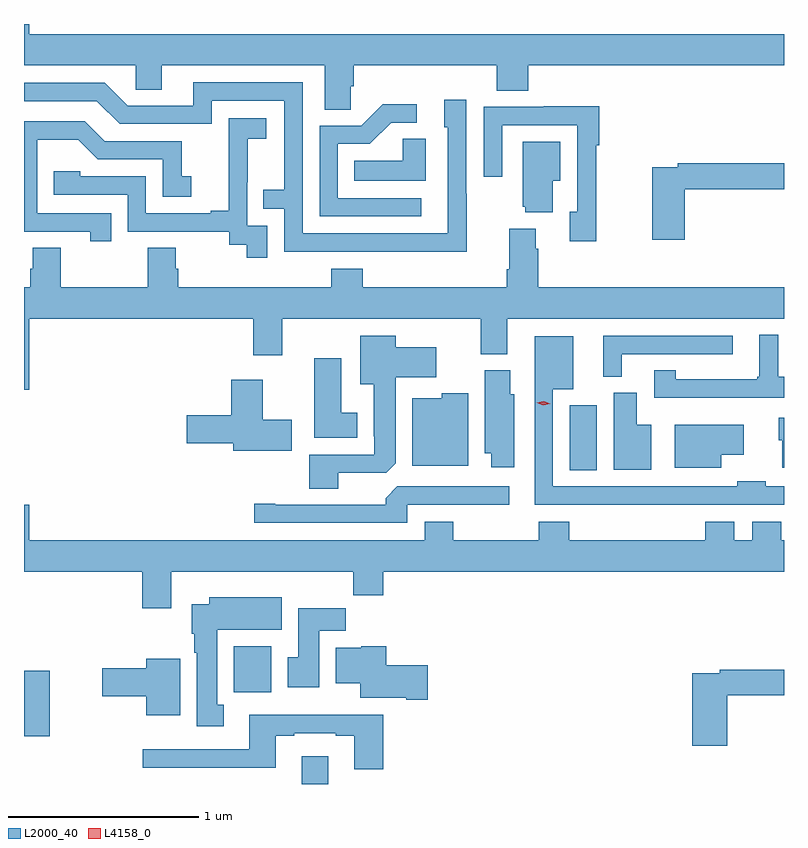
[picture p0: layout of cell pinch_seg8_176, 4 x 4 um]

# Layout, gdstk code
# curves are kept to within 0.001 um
import gdstk
lib = gdstk.Library(unit=1e-6, precision=1e-09)
def R(c, l, rs):  # rectangles x0, y0, x1, y1
    for r in rs: c.add(gdstk.rectangle(r[:2], r[2:], *l))
def P(c, l, *ps):  # polygons
    for p in ps: c.add(gdstk.Polygon(p, *l))
L2000_40 = (2000, 40)
L4158_0 = (4158, 0)

pinch_seg8_176 = lib.new_cell('pinch_seg8_176')
R(pinch_seg8_176, L2000_40, [(682.091,1138.026,682.231,1138.171), (680.629,1138.277,680.764,1138.621), (681.734,1138.508,681.931,1138.75), (683.501,1139.677,683.644,1140.019)])
P(pinch_seg8_176, L2000_40, [(682.35,1141.699),(682.364,1141.699),(682.364,1141.808),(683.117,1141.808),(683.117,1141.675),(683.282,1141.675),(683.282,1141.808),(684.629,1141.808),(684.629,1141.972),(680.656,1141.972),(680.656,1142.026),(680.629,1142.026),(680.629,1141.808),(681.216,1141.808),(681.216,1141.681),(681.355,1141.681),(681.355,1141.808),(682.211,1141.808),(682.211,1141.576),(682.35,1141.576)],
  [(682.959,1141.133),(682.956,1141.133),(682.956,1141.627),(682.841,1141.627),(682.841,1141.482),(682.86,1141.482),(682.86,1140.924),(682.095,1140.924),(682.095,1141.719),(681.521,1141.719),(681.521,1141.596),(681.174,1141.596),(681.054,1141.716),(680.629,1141.716),(680.629,1141.62),(681.012,1141.62),(681.132,1141.5),(681.618,1141.5),(681.618,1141.623),(681.999,1141.623),(681.999,1141.154),(681.889,1141.154),(681.889,1141.053),(681.999,1141.053),(681.999,1140.828),(682.959,1140.827)],
  [(682.72,1141.11),(682.281,1141.11),(682.281,1141.395),(682.45,1141.395),(682.561,1141.506),(682.696,1141.506),(682.696,1141.604),(682.517,1141.604),(682.404,1141.491),(682.185,1141.491),(682.185,1141.014),(682.72,1141.014)],
  [(683.642,1141.387),(683.657,1141.387),(683.657,1141.592),(683.365,1141.592),(683.365,1141.59),(683.049,1141.59),(683.049,1141.221),(683.145,1141.221),(683.145,1141.494),(683.541,1141.494),(683.541,1141.038),(683.501,1141.038),(683.501,1140.882),(683.642,1140.882)],
  [(681.909,1140.963),(681.804,1140.963),(681.804,1141.193),(681.806,1141.193),(681.806,1141.421),(681.904,1141.421),(681.904,1141.531),(681.706,1141.531),(681.706,1141.325),(681.707,1141.325),(681.707,1141.042),(681.611,1141.042),(681.611,1141.029),(681.27,1141.029),(681.27,1141.224),(680.925,1141.224),(680.925,1141.251),(680.785,1141.251),(680.785,1141.128),(681.174,1141.128),(681.174,1140.933),(681.708,1140.933),(681.708,1140.865),(681.801,1140.865),(681.801,1140.795),(681.909,1140.795)],
  [(681.089,1141.029),(680.7,1141.029),(680.7,1141.418),(680.914,1141.418),(681.018,1141.314),(681.36,1141.314),(681.36,1141.116),(681.508,1141.116),(681.508,1141.225),(681.459,1141.225),(681.459,1141.41),(681.055,1141.41),(680.95,1141.515),(680.629,1141.515),(680.629,1140.933),(680.978,1140.933),(680.978,1140.882),(681.089,1140.882)],
  [(682.744,1141.421),(682.623,1141.421),(682.623,1141.306),(682.366,1141.306),(682.366,1141.202),(682.744,1141.202)],
  [(683.413,1141.202),(683.452,1141.202),(683.452,1141.405),(683.255,1141.405),(683.255,1141.065),(683.267,1141.065),(683.267,1141.034),(683.413,1141.034)],
  [(684.107,1141.156),(684.629,1141.156),(684.629,1141.292),(684.07,1141.292),(684.07,1141.272),(683.936,1141.272),(683.936,1140.891),(684.107,1140.891)],
  [(680.656,1140.476),(681.836,1140.476),(681.836,1140.282),(681.988,1140.282),(681.988,1140.476),(683.033,1140.476),(683.033,1140.289),(683.173,1140.289),(683.173,1140.476),(684.629,1140.476),(684.629,1140.64),(683.336,1140.64),(683.336,1140.842),(683.323,1140.842),(683.323,1140.949),(683.183,1140.949),(683.183,1140.736),(683.171,1140.736),(683.171,1140.64),(682.412,1140.64),(682.412,1140.739),(682.247,1140.739),(682.247,1140.64),(681.44,1140.64),(681.44,1140.738),(681.427,1140.738),(681.427,1140.848),(681.28,1140.848),(681.28,1140.64),(680.823,1140.64),(680.823,1140.848),(680.675,1140.848),(680.675,1140.738),(680.663,1140.738),(680.663,1140.64),(680.629,1140.64),(680.629,1140.102),(680.656,1140.102)],
  [(684.405,1140.06),(684.629,1140.06),(684.629,1140.169),(684.598,1140.169),(684.598,1140.391),(684.5,1140.391),(684.5,1140.169),(684.489,1140.169),(684.489,1140.157),(684.059,1140.157),(684.059,1140.203),(683.946,1140.203),(683.946,1140.059),(684.405,1140.059)],
  [(682.282,1139.664),(682.536,1139.664),(682.585,1139.713),(682.585,1140.167),(682.798,1140.167),(682.798,1140.325),(682.585,1140.325),(682.585,1140.385),(682.4,1140.385),(682.4,1140.131),(682.469,1140.131),(682.469,1139.857),(682.473,1139.857),(682.473,1139.76),(682.13,1139.76),(682.13,1139.581),(682.282,1139.581)],
  [(683.776,1140.288),(684.358,1140.288),(684.358,1140.384),(683.678,1140.384),(683.678,1140.169),(683.776,1140.169)],
  [(684.131,1139.496),(684.629,1139.496),(684.629,1139.592),(684.534,1139.592),(684.534,1139.62),(684.384,1139.62),(684.384,1139.592),(683.412,1139.592),(683.412,1140.104),(683.521,1140.104),(683.521,1140.382),(683.316,1140.382),(683.316,1139.496),(683.581,1139.496),(683.581,1139.495),(684.131,1139.495)],
  [(682.384,1139.98),(682.3,1139.98),(682.3,1140.268),(682.157,1140.268),(682.157,1139.849),(682.384,1139.849)],
  [(683.209,1140.078),(683.188,1140.078),(683.188,1140.204),(683.054,1140.204),(683.054,1139.768),(683.087,1139.768),(683.087,1139.694),(683.209,1139.694)],
  [(682.039,1139.943),(681.886,1139.943),(681.886,1140.154),(681.719,1140.154),(681.719,1139.966),(681.486,1139.966),(681.486,1139.819),(681.731,1139.819),(681.731,1139.78),(682.039,1139.78)],
  [(683.929,1139.917),(683.854,1139.917),(683.854,1140.084),(683.732,1140.084),(683.732,1139.681),(683.929,1139.681)],
  [(682.966,1140.082),(682.827,1140.082),(682.827,1140.055),(682.673,1140.055),(682.673,1139.702),(682.966,1139.702)],
  [(684.629,1139.953),(684.602,1139.953),(684.602,1139.835),(684.62,1139.835),(684.62,1139.69),(684.629,1139.69)],
  [(684.298,1139.759),(684.418,1139.759),(684.418,1139.917),(684.053,1139.917),(684.053,1139.69),(684.298,1139.69)],
  [(682.647,1139.496),(683.182,1139.496),(683.182,1139.592),(682.593,1139.592),(682.532,1139.53),(682.532,1139.496),(681.952,1139.496),(681.952,1139.501),(681.84,1139.501),(681.84,1139.4),(682.647,1139.4)],
  [(681.403,1139.144),(682.363,1139.144),(682.363,1139.02),(682.52,1139.02),(682.52,1139.144),(684.629,1139.144),(684.629,1139.308),(684.614,1139.308),(684.614,1139.407),(684.461,1139.407),(684.461,1139.308),(684.367,1139.308),(684.367,1139.407),(684.215,1139.407),(684.215,1139.308),(683.498,1139.308),(683.498,1139.407),(683.338,1139.407),(683.338,1139.308),(682.887,1139.308),(682.887,1139.407),(682.739,1139.407),(682.739,1139.308),(680.656,1139.308),(680.656,1139.497),(680.629,1139.497),(680.629,1139.144),(681.251,1139.144),(681.251,1138.95),(681.403,1138.95)],
  [(681.679,1138.442),(681.646,1138.442),(681.646,1138.838),(681.985,1138.838),(681.985,1139.008),(681.605,1139.008),(681.605,1138.972),(681.512,1138.972),(681.512,1138.818),(681.524,1138.818),(681.524,1138.718),(681.539,1138.718),(681.539,1138.329),(681.679,1138.329)],
  [(682.183,1138.832),(682.322,1138.832),(682.322,1138.95),(682.073,1138.95),(682.073,1138.692),(682.016,1138.692),(682.016,1138.536),(682.183,1138.536)],
  [(682.753,1138.652),(682.535,1138.652),(682.535,1138.75),(682.404,1138.75),(682.404,1138.744),(682.271,1138.744),(682.271,1138.556),(682.4,1138.556),(682.4,1138.481),(682.64,1138.481),(682.64,1138.469),(682.753,1138.469)],
  [(681.451,1138.684),(681.272,1138.684),(681.272,1138.634),(681.042,1138.634),(681.042,1138.487),(681.272,1138.487),(681.272,1138.388),(681.451,1138.388)],
  [(684.329,1138.492),(684.629,1138.492),(684.629,1138.628),(684.292,1138.628),(684.292,1138.608),(684.146,1138.608),(684.146,1138.227),(684.329,1138.227)],
  [(682.52,1138.39),(681.815,1138.39),(681.815,1138.209),(681.255,1138.209),(681.255,1138.112),(681.955,1138.112),(681.955,1138.281),(682.051,1138.281),(682.051,1138.293),(682.271,1138.293),(682.271,1138.281),(682.367,1138.281),(682.367,1138.104),(682.52,1138.104)])
P(pinch_seg8_176, L4158_0, [(683.362,1140.02),(683.327,1140.033),(683.327,1140.033),(683.327,1140.033),(683.364,1140.04),(683.399,1140.028),(683.399,1140.028),(683.399,1140.028)])

lib.write_gds('pinch_seg8_176.gds')
